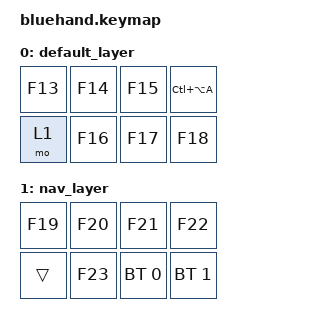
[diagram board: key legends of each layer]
/*
 * Copyright (c) 2021 DonPavlov
 *
 * SPDX-License-Identifier: MIT
 */

#include <behaviors.dtsi>
#include <dt-bindings/zmk/keys.h>
#include <dt-bindings/zmk/bt.h>

/ {
    keymap {
        compatible = "zmk,keymap";

        default_layer {
// -------------------
// |  F13    |  F14  |  F15  |  LCTRL+ALT+A  |
// |  MO(1)  |  F16  |  F17  |  F18          |
// ----------------------
            bindings = <
    &kp F13 &kp F14 &kp F15 &kp LC(LA(A))
    &mo 1  &kp F16 &kp F17 &kp F18
            >;
        };

        nav_layer {
// -----------------------
// | F19 |  F20  |  F21  |  F22 |
// |  -  |  F23  |  BT_SEL 0  |  BT_SEL 1 |
// -----------------------
            bindings = <
    &kp F19 &kp F20 &kp F21 &kp F22
    &trans   &kp F23  &bt BT_SEL 0  &bt BT_SEL 1
            >;
        };
    };
};
